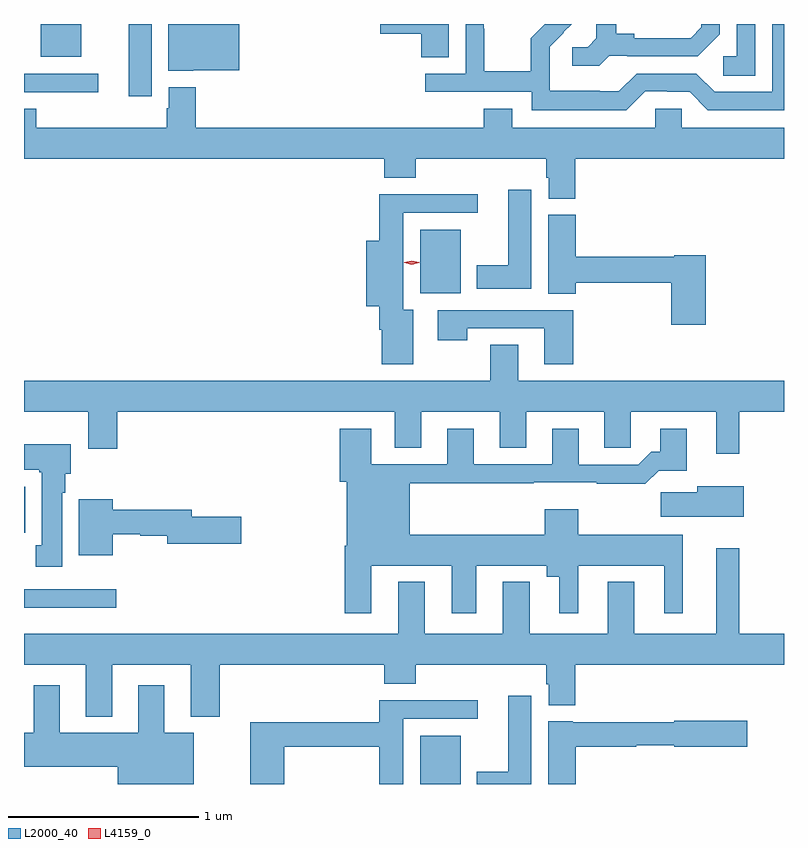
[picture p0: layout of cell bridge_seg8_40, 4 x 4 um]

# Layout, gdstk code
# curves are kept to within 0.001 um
import gdstk
lib = gdstk.Library(unit=1e-6, precision=1e-09)
def R(c, l, rs):  # rectangles x0, y0, x1, y1
    for r in rs: c.add(gdstk.rectangle(r[:2], r[2:], *l))
def P(c, l, *ps):  # polygons
    for p in ps: c.add(gdstk.Polygon(p, *l))
L2000_40 = (2000, 40)
L4159_0 = (4159, 0)

bridge_seg8_40 = lib.new_cell('bridge_seg8_40')
R(bridge_seg8_40, L2000_40, [(1070.438,1153.169,1070.65,1153.423), (1068.352,1154.096,1068.838,1154.193), (1068.352,1154.492,1068.358,1154.734), (1070.438,1155.752,1070.65,1156.087), (1068.902,1156.788,1069.024,1157.169), (1068.352,1156.811,1068.742,1156.908), (1068.44,1156.997,1068.652,1157.169)])
P(bridge_seg8_40, L2000_40, [(1070.587,1157.169),(1070.226,1157.169),(1070.226,1157.117),(1070.444,1157.117),(1070.444,1156.993),(1070.587,1156.993)],
  [(1071.432,1157.001),(1071.526,1157.001),(1071.526,1156.998),(1071.898,1156.998),(1072.014,1157.114),(1072.014,1157.169),(1071.917,1157.169),(1071.917,1157.151),(1071.86,1157.094),(1071.565,1157.094),(1071.565,1157.117),(1071.469,1157.117),(1071.469,1157.169),(1071.365,1157.169),(1071.365,1157.093),(1071.318,1157.046),(1071.237,1157.046),(1071.237,1156.949),(1071.38,1156.949)],
  [(1069.242,1156.925),(1069.486,1156.925),(1069.486,1157.169),(1069.112,1157.169),(1069.112,1156.922),(1069.242,1156.922)],
  [(1072.2,1157.169),(1072.104,1157.169),(1072.104,1156.998),(1072.032,1156.998),(1072.032,1156.897),(1072.2,1156.897)],
  [(1071.621,1156.815),(1071.737,1156.815),(1071.737,1156.812),(1071.855,1156.812),(1071.951,1156.716),(1072.352,1156.716),(1072.352,1157.169),(1072.29,1157.169),(1072.29,1156.812),(1071.987,1156.812),(1071.891,1156.908),(1071.576,1156.908),(1071.483,1156.815),(1071.383,1156.815),(1071.383,1156.819),(1071.12,1156.819),(1071.12,1156.953),(1071.118,1156.953),(1071.118,1157.05),(1071.235,1157.169),(1071.093,1157.169),(1071.019,1157.095),(1071.019,1156.921),(1070.775,1156.921),(1070.775,1157.144),(1070.772,1157.144),(1070.772,1157.169),(1070.676,1157.169),(1070.676,1156.908),(1070.463,1156.908),(1070.463,1156.812),(1071.024,1156.812),(1071.024,1156.715),(1071.521,1156.715)],
  [(1071.254,1156.46),(1072.352,1156.46),(1072.352,1156.624),(1071.813,1156.624),(1071.813,1156.722),(1071.675,1156.722),(1071.675,1156.624),(1070.923,1156.624),(1070.923,1156.723),(1070.771,1156.723),(1070.771,1156.624),(1069.256,1156.624),(1069.256,1156.837),(1069.115,1156.837),(1069.115,1156.725),(1069.103,1156.725),(1069.103,1156.624),(1068.416,1156.624),(1068.416,1156.723),(1068.352,1156.723),(1068.352,1156.46),(1070.249,1156.46),(1070.249,1156.361),(1070.414,1156.361),(1070.414,1156.46),(1071.101,1156.46),(1071.101,1156.359),(1071.113,1156.359),(1071.113,1156.249),(1071.254,1156.249)],
  [(1071.022,1156.297),(1070.9,1156.297),(1070.9,1155.898),(1070.735,1155.898),(1070.735,1155.776),(1071.022,1155.776)],
  [(1070.401,1155.664),(1070.347,1155.664),(1070.347,1156.176),(1070.74,1156.176),(1070.74,1156.274),(1070.222,1156.274),(1070.222,1156.027),(1070.153,1156.027),(1070.153,1155.683),(1070.222,1155.683),(1070.222,1155.56),(1070.234,1155.56),(1070.234,1155.378),(1070.401,1155.378)],
  [(1071.941,1155.952),(1071.774,1155.952),(1071.774,1155.944),(1071.257,1155.944),(1071.257,1156.164),(1071.11,1156.164),(1071.11,1155.748),(1071.257,1155.748),(1071.257,1155.808),(1071.758,1155.808),(1071.758,1155.585),(1071.941,1155.585)],
  [(1071.242,1155.663),(1070.529,1155.663),(1070.529,1155.504),(1070.685,1155.504),(1070.685,1155.567),(1071.089,1155.567),(1071.089,1155.378),(1071.242,1155.378)],
  [(1072.117,1155.128),(1072.352,1155.128),(1072.352,1155.292),(1070.953,1155.292),(1070.953,1155.482),(1070.806,1155.482),(1070.806,1155.292),(1068.352,1155.292),(1068.352,1155.128),(1068.689,1155.128),(1068.689,1154.934),(1068.842,1154.934),(1068.842,1155.128),(1070.303,1155.128),(1070.303,1154.938),(1070.443,1154.938),(1070.443,1155.128),(1070.855,1155.128),(1070.855,1154.938),(1070.995,1154.938),(1070.995,1155.128),(1071.407,1155.128),(1071.407,1154.938),(1071.546,1154.938),(1071.546,1155.128),(1071.995,1155.128),(1071.995,1154.907),(1072.117,1154.907)],
  [(1070.179,1154.318),(1070.603,1154.318),(1070.603,1154.067),(1070.731,1154.067),(1070.731,1154.318),(1071.104,1154.318),(1071.104,1154.261),(1071.17,1154.261),(1071.17,1154.067),(1071.268,1154.067),(1071.268,1154.318),(1071.722,1154.318),(1071.722,1154.067),(1071.82,1154.067),(1071.82,1154.482),(1071.27,1154.482),(1071.27,1154.614),(1071.092,1154.614),(1071.092,1154.482),(1070.383,1154.482),(1070.383,1154.752),(1071.035,1154.752),(1071.035,1154.756),(1071.367,1154.756),(1071.367,1154.75),(1071.623,1154.75),(1071.692,1154.819),(1071.841,1154.819),(1071.841,1155.04),(1071.701,1155.04),(1071.701,1154.917),(1071.652,1154.917),(1071.585,1154.85),(1071.271,1154.85),(1071.271,1155.04),(1071.131,1155.04),(1071.131,1154.853),(1070.719,1154.853),(1070.719,1155.04),(1070.579,1155.04),(1070.579,1154.853),(1070.179,1154.853),(1070.179,1155.04),(1070.015,1155.04),(1070.015,1154.76),(1070.051,1154.76),(1070.051,1154.422),(1070.039,1154.422),(1070.039,1154.067),(1070.179,1154.067)],
  [(1068.553,1154.702),(1068.568,1154.702),(1068.568,1154.802),(1068.598,1154.802),(1068.598,1154.956),(1068.352,1154.956),(1068.352,1154.822),(1068.433,1154.822),(1068.433,1154.809),(1068.446,1154.809),(1068.446,1154.426),(1068.413,1154.426),(1068.413,1154.313),(1068.553,1154.313)],
  [(1072.141,1154.737),(1071.896,1154.737),(1071.896,1154.705),(1071.702,1154.705),(1071.702,1154.576),(1072.141,1154.576)],
  [(1068.82,1154.484),(1068.963,1154.484),(1068.963,1154.476),(1069.106,1154.476),(1069.106,1154.434),(1069.495,1154.434),(1069.495,1154.576),(1069.234,1154.576),(1069.234,1154.612),(1068.82,1154.612),(1068.82,1154.668),(1068.641,1154.668),(1068.641,1154.372),(1068.82,1154.372)],
  [(1068.817,1153.796),(1069.229,1153.796),(1069.229,1153.523),(1069.382,1153.523),(1069.382,1153.796),(1070.249,1153.796),(1070.249,1153.697),(1070.414,1153.697),(1070.414,1153.796),(1071.101,1153.796),(1071.101,1153.695),(1071.113,1153.695),(1071.113,1153.583),(1071.254,1153.583),(1071.254,1153.796),(1072.352,1153.796),(1072.352,1153.96),(1072.117,1153.96),(1072.117,1154.41),(1071.995,1154.41),(1071.995,1153.96),(1071.565,1153.96),(1071.565,1154.233),(1071.425,1154.233),(1071.425,1153.96),(1071.013,1153.96),(1071.013,1154.233),(1070.873,1154.233),(1070.873,1153.96),(1070.461,1153.96),(1070.461,1154.233),(1070.321,1154.233),(1070.321,1153.96),(1068.352,1153.96),(1068.352,1153.796),(1068.677,1153.796),(1068.677,1153.523),(1068.817,1153.523)],
  [(1069.246,1153.438),(1069.09,1153.438),(1069.09,1153.69),(1068.953,1153.69),(1068.953,1153.438),(1068.541,1153.438),(1068.541,1153.69),(1068.404,1153.69),(1068.404,1153.438),(1068.352,1153.438),(1068.352,1153.259),(1068.845,1153.259),(1068.845,1153.169),(1069.246,1153.169)],
  [(1071.022,1153.633),(1070.9,1153.633),(1070.9,1153.234),(1070.735,1153.234),(1070.735,1153.169),(1071.022,1153.169)],
  [(1069.721,1153.366),(1070.222,1153.366),(1070.222,1153.169),(1070.347,1153.169),(1070.347,1153.512),(1070.74,1153.512),(1070.74,1153.61),(1070.222,1153.61),(1070.222,1153.495),(1069.543,1153.495),(1069.543,1153.169),(1069.721,1153.169)],
  [(1071.257,1153.366),(1071.574,1153.366),(1071.574,1153.374),(1071.774,1153.374),(1071.774,1153.366),(1072.159,1153.366),(1072.159,1153.503),(1071.774,1153.503),(1071.774,1153.495),(1071.24,1153.495),(1071.24,1153.498),(1071.11,1153.498),(1071.11,1153.169),(1071.257,1153.169)])
P(bridge_seg8_40, L4159_0, [(1070.393,1155.903),(1070.353,1155.913),(1070.352,1155.913),(1070.353,1155.914),(1070.393,1155.923),(1070.432,1155.914),(1070.433,1155.913),(1070.432,1155.913)])

lib.write_gds('bridge_seg8_40.gds')
